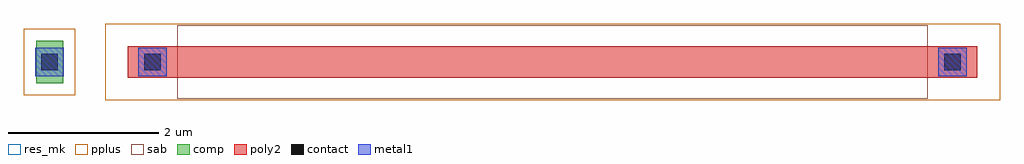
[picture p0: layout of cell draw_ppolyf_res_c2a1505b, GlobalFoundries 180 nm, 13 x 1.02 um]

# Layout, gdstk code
import gdstk
lib = gdstk.Library(unit=1e-6, precision=1e-09)
def R(c, l, rs):  # rectangles x0, y0, x1, y1
    for r in rs: c.add(gdstk.rectangle(r[:2], r[2:], *l))
comp = (22, 0)
poly2 = (30, 0)
pplus = (31, 0)
contact = (33, 0)
metal1 = (34, 0)
sab = (49, 0)
res_mk = (110, 5)

draw_ppolyf_res_c2a1505b = lib.new_cell('draw_ppolyf_res_c2a1505b')
R(draw_ppolyf_res_c2a1505b, comp, [(-1.88,-0.07,-1.52,0.49)])
R(draw_ppolyf_res_c2a1505b, poly2, [(-0.66,0,10.66,0.42)])
R(draw_ppolyf_res_c2a1505b, pplus, [(-0.96,-0.3,10.96,0.72), (-2.04,-0.23,-1.36,0.65)])
R(draw_ppolyf_res_c2a1505b, contact, [(-1.81,0.1,-1.59,0.32), (-0.44,0.1,-0.22,0.32), (10.22,0.1,10.44,0.32)])
R(draw_ppolyf_res_c2a1505b, metal1, [(-1.89,0.02,-1.51,0.4), (-0.52,0.02,-0.14,0.4), (10.14,0.02,10.52,0.4)])
R(draw_ppolyf_res_c2a1505b, sab, [(0,-0.28,10,0.7)])
R(draw_ppolyf_res_c2a1505b, res_mk, [(0,0,10,0.42)])

lib.write_gds('draw_ppolyf_res_c2a1505b.gds')
